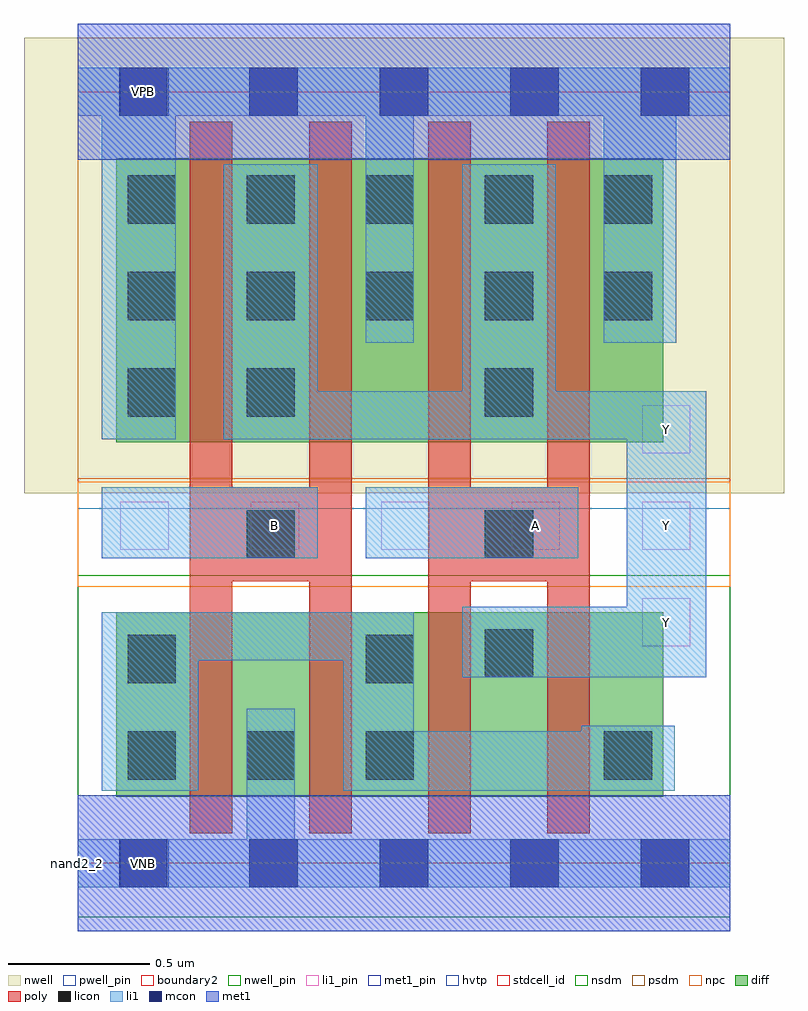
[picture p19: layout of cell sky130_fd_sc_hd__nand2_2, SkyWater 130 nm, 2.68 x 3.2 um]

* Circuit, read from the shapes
.subckt sky130_fd_sc_hd__nand2_2 A B VGND VNB VPB VPWR Y
XM1 VGND B n1 VNB sky130_fd_pr__nfet_01v8 w=0.65 l=0.15 m=2
XM2 Y A n1 VNB sky130_fd_pr__nfet_01v8 w=0.65 l=0.15 m=2
XM3 Y B VPWR VPB sky130_fd_pr__pfet_01v8_hvt w=1 l=0.15 m=2
XM4 Y A VPWR VPB sky130_fd_pr__pfet_01v8_hvt w=1 l=0.15 m=2
.ends

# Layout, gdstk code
import gdstk
lib = gdstk.Library(unit=1e-6, precision=1e-09)
def R(c, l, rs):  # rectangles x0, y0, x1, y1
    for r in rs: c.add(gdstk.rectangle(r[:2], r[2:], *l))
def P(c, l, *ps):  # polygons
    for p in ps: c.add(gdstk.Polygon(p, *l))
nwell_pin = (64, 16)
nwell = (64, 20)
diff = (65, 20)
poly = (66, 20)
licon = (66, 44)
li1_pin = (67, 16)
li1 = (67, 20)
mcon = (67, 44)
met1_pin = (68, 16)
met1 = (68, 20)
hvtp = (78, 44)
stdcell_id = (81, 4)
nsdm = (93, 44)
psdm = (94, 20)
npc = (95, 20)
pwell_pin = (122, 16)
boundary2 = (236, 0)

sky130_fd_sc_hd__nand2_2 = lib.new_cell('sky130_fd_sc_hd__nand2_2')
R(sky130_fd_sc_hd__nand2_2, nwell_pin, [(0.15,2.635,0.32,2.805), (0.15,2.635,0.32,2.805)])
R(sky130_fd_sc_hd__nand2_2, nwell, [(-0.19,1.305,2.49,2.91), (-0.19,1.305,2.49,2.91)])
R(sky130_fd_sc_hd__nand2_2, diff, [(0.135,0.235,2.065,0.885), (0.135,0.235,2.065,0.885), (0.135,1.485,2.065,2.485), (0.135,1.485,2.065,2.485)])
P(sky130_fd_sc_hd__nand2_2, poly, [(1.235,0.105),(1.235,2.615),(1.385,2.615),(1.385,1.325),(1.655,1.325),(1.655,2.615),(1.805,2.615),(1.805,0.105),(1.655,0.105),(1.655,0.995),(1.385,0.995),(1.385,0.105)],
  [(0.395,0.105),(0.395,2.615),(0.545,2.615),(0.545,1.325),(0.815,1.325),(0.815,2.615),(0.965,2.615),(0.965,0.105),(0.815,0.105),(0.815,0.995),(0.545,0.995),(0.545,0.105)],
  [(1.235,0.105),(1.235,2.615),(1.385,2.615),(1.385,1.325),(1.655,1.325),(1.655,2.615),(1.805,2.615),(1.805,0.105),(1.655,0.105),(1.655,0.995),(1.385,0.995),(1.385,0.105)],
  [(0.395,0.105),(0.395,2.615),(0.545,2.615),(0.545,1.325),(0.815,1.325),(0.815,2.615),(0.965,2.615),(0.965,0.105),(0.815,0.105),(0.815,0.995),(0.545,0.995),(0.545,0.105)])
R(sky130_fd_sc_hd__nand2_2, licon, [(0.175,0.295,0.345,0.465), (0.175,0.295,0.345,0.465), (0.595,0.295,0.765,0.465), (0.595,0.295,0.765,0.465), (1.015,0.295,1.185,0.465), (1.015,0.295,1.185,0.465), (1.855,0.295,2.025,0.465), (1.855,0.295,2.025,0.465), (0.175,0.635,0.345,0.805), (0.175,0.635,0.345,0.805), (1.015,0.635,1.185,0.805), (1.015,0.635,1.185,0.805), (1.435,0.655,1.605,0.825), (1.435,0.655,1.605,0.825), (0.595,1.075,0.765,1.245), (0.595,1.075,0.765,1.245), (1.435,1.075,1.605,1.245), (1.435,1.075,1.605,1.245), (0.175,1.575,0.345,1.745), (0.175,1.575,0.345,1.745), (0.595,1.575,0.765,1.745), (0.595,1.575,0.765,1.745), (1.435,1.575,1.605,1.745), (1.435,1.575,1.605,1.745), (0.175,1.915,0.345,2.085), (0.175,1.915,0.345,2.085), (0.595,1.915,0.765,2.085), (0.595,1.915,0.765,2.085), (1.015,1.915,1.185,2.085), (1.015,1.915,1.185,2.085), (1.435,1.915,1.605,2.085), (1.435,1.915,1.605,2.085), (1.855,1.915,2.025,2.085), (1.855,1.915,2.025,2.085), (0.175,2.255,0.345,2.425), (0.175,2.255,0.345,2.425), (0.595,2.255,0.765,2.425), (0.595,2.255,0.765,2.425), (1.015,2.255,1.185,2.425), (1.015,2.255,1.185,2.425), (1.435,2.255,1.605,2.425), (1.435,2.255,1.605,2.425), (1.855,2.255,2.025,2.425), (1.855,2.255,2.025,2.425)])
R(sky130_fd_sc_hd__nand2_2, li1_pin, [(1.99,0.765,2.16,0.935), (1.99,0.765,2.16,0.935), (0.15,1.105,0.32,1.275), (0.15,1.105,0.32,1.275), (0.61,1.105,0.78,1.275), (0.61,1.105,0.78,1.275), (1.07,1.105,1.24,1.275), (1.07,1.105,1.24,1.275), (1.53,1.105,1.7,1.275), (1.53,1.105,1.7,1.275), (1.99,1.105,2.16,1.275), (1.99,1.105,2.16,1.275), (1.99,1.445,2.16,1.615), (1.99,1.445,2.16,1.615)])
R(sky130_fd_sc_hd__nand2_2, li1, [(0.085,1.075,0.845,1.325), (0.085,1.075,0.845,1.325), (1.015,1.075,1.765,1.325), (1.015,1.075,1.765,1.325)])
P(sky130_fd_sc_hd__nand2_2, li1, [(0,-0.085),(0,0.085),(0.595,0.085),(0.595,0.545),(0.765,0.545),(0.765,0.085),(2.3,0.085),(2.3,-0.085)],
  [(0.085,1.495),(0.085,2.635),(0,2.635),(0,2.805),(2.3,2.805),(2.3,2.635),(2.11,2.635),(2.11,1.835),(1.855,1.835),(1.855,2.635),(1.185,2.635),(1.185,1.835),(1.015,1.835),(1.015,2.635),(0.345,2.635),(0.345,1.495)],
  [(0.085,0.255),(0.085,0.885),(1.185,0.885),(1.185,0.465),(1.775,0.465),(1.775,0.485),(2.105,0.485),(2.105,0.255),(0.935,0.255),(0.935,0.715),(0.425,0.715),(0.425,0.255)],
  [(1.355,0.655),(1.355,0.905),(1.935,0.905),(1.935,1.495),(0.515,1.495),(0.515,2.465),(0.845,2.465),(0.845,1.665),(1.355,1.665),(1.355,2.465),(1.685,2.465),(1.685,1.665),(2.215,1.665),(2.215,0.655)],
  [(0,-0.085),(0,0.085),(0.595,0.085),(0.595,0.545),(0.765,0.545),(0.765,0.085),(2.3,0.085),(2.3,-0.085)],
  [(0.085,1.495),(0.085,2.635),(0,2.635),(0,2.805),(2.3,2.805),(2.3,2.635),(2.11,2.635),(2.11,1.835),(1.855,1.835),(1.855,2.635),(1.185,2.635),(1.185,1.835),(1.015,1.835),(1.015,2.635),(0.345,2.635),(0.345,1.495)],
  [(0.085,0.255),(0.085,0.885),(1.185,0.885),(1.185,0.465),(1.775,0.465),(1.775,0.485),(2.105,0.485),(2.105,0.255),(0.935,0.255),(0.935,0.715),(0.425,0.715),(0.425,0.255)],
  [(1.355,0.655),(1.355,0.905),(1.935,0.905),(1.935,1.495),(0.515,1.495),(0.515,2.465),(0.845,2.465),(0.845,1.665),(1.355,1.665),(1.355,2.465),(1.685,2.465),(1.685,1.665),(2.215,1.665),(2.215,0.655)])
R(sky130_fd_sc_hd__nand2_2, mcon, [(0.145,-0.085,0.315,0.085), (0.145,-0.085,0.315,0.085), (0.605,-0.085,0.775,0.085), (0.605,-0.085,0.775,0.085), (1.065,-0.085,1.235,0.085), (1.065,-0.085,1.235,0.085), (1.525,-0.085,1.695,0.085), (1.525,-0.085,1.695,0.085), (1.985,-0.085,2.155,0.085), (1.985,-0.085,2.155,0.085), (0.145,2.635,0.315,2.805), (0.145,2.635,0.315,2.805), (0.605,2.635,0.775,2.805), (0.605,2.635,0.775,2.805), (1.065,2.635,1.235,2.805), (1.065,2.635,1.235,2.805), (1.525,2.635,1.695,2.805), (1.525,2.635,1.695,2.805), (1.985,2.635,2.155,2.805), (1.985,2.635,2.155,2.805)])
R(sky130_fd_sc_hd__nand2_2, met1_pin, [(0.15,-0.085,0.32,0.085), (0.15,-0.085,0.32,0.085), (0.15,2.635,0.32,2.805), (0.15,2.635,0.32,2.805)])
R(sky130_fd_sc_hd__nand2_2, hvtp, [(0,1.25,2.3,2.72), (0,1.25,2.3,2.72)])
R(sky130_fd_sc_hd__nand2_2, stdcell_id, [(0,0,2.3,2.72), (0,0,2.3,2.72)])
R(sky130_fd_sc_hd__nand2_2, nsdm, [(0,-0.19,2.3,1.015), (0,-0.19,2.3,1.015)])
R(sky130_fd_sc_hd__nand2_2, psdm, [(0,1.355,2.3,2.91), (0,1.355,2.3,2.91)])
R(sky130_fd_sc_hd__nand2_2, npc, [(0,0.975,2.3,1.345), (0,0.975,2.3,1.345)])
R(sky130_fd_sc_hd__nand2_2, pwell_pin, [(0.15,-0.085,0.32,0.085), (0.15,-0.085,0.32,0.085)])
R(sky130_fd_sc_hd__nand2_2, boundary2, [(0,0,2.3,2.72), (0,0,2.3,2.72)])
sky130_fd_sc_hd__nand2_2.add(gdstk.FlexPath([(0,2.72),(2.3,2.72)], 0.48, ends="flush", simple_path=True, layer=68, datatype=20))  # met1
sky130_fd_sc_hd__nand2_2.add(gdstk.FlexPath([(0,0),(2.3,0)], 0.48, ends="flush", simple_path=True, layer=68, datatype=20))  # met1
sky130_fd_sc_hd__nand2_2.add(gdstk.FlexPath([(0,2.72),(2.3,2.72)], 0.48, ends="flush", simple_path=True, layer=68, datatype=20))  # met1
sky130_fd_sc_hd__nand2_2.add(gdstk.FlexPath([(0,0),(2.3,0)], 0.48, ends="flush", simple_path=True, layer=68, datatype=20))  # met1
sky130_fd_sc_hd__nand2_2.add(gdstk.Label('Y', (2.075,0.85), layer=67, texttype=5))
sky130_fd_sc_hd__nand2_2.add(gdstk.Label('Y', (2.075,1.19), layer=67, texttype=5))
sky130_fd_sc_hd__nand2_2.add(gdstk.Label('Y', (2.075,1.53), layer=67, texttype=5))
sky130_fd_sc_hd__nand2_2.add(gdstk.Label('A', (1.615,1.19), layer=67, texttype=5))
sky130_fd_sc_hd__nand2_2.add(gdstk.Label('B', (0.695,1.19), layer=67, texttype=5))
sky130_fd_sc_hd__nand2_2.add(gdstk.Label('Y', (2.075,0.85), layer=67, texttype=5))
sky130_fd_sc_hd__nand2_2.add(gdstk.Label('Y', (2.075,1.19), layer=67, texttype=5))
sky130_fd_sc_hd__nand2_2.add(gdstk.Label('Y', (2.075,1.53), layer=67, texttype=5))
sky130_fd_sc_hd__nand2_2.add(gdstk.Label('A', (1.615,1.19), layer=67, texttype=5))
sky130_fd_sc_hd__nand2_2.add(gdstk.Label('B', (0.695,1.19), layer=67, texttype=5))
sky130_fd_sc_hd__nand2_2.add(gdstk.Label('VNB', (0.23,0), layer=64, texttype=59))
sky130_fd_sc_hd__nand2_2.add(gdstk.Label('VNB', (0.23,0), layer=64, texttype=59))
sky130_fd_sc_hd__nand2_2.add(gdstk.Label('VPB', (0.23,2.72), layer=64, texttype=5))
sky130_fd_sc_hd__nand2_2.add(gdstk.Label('VPB', (0.23,2.72), layer=64, texttype=5))
sky130_fd_sc_hd__nand2_2.add(gdstk.Label('VGND', (0.23,0), layer=68, texttype=5))
sky130_fd_sc_hd__nand2_2.add(gdstk.Label('VPWR', (0.23,2.72), layer=68, texttype=5))
sky130_fd_sc_hd__nand2_2.add(gdstk.Label('VGND', (0.23,0), layer=68, texttype=5))
sky130_fd_sc_hd__nand2_2.add(gdstk.Label('VPWR', (0.23,2.72), layer=68, texttype=5))
sky130_fd_sc_hd__nand2_2.add(gdstk.Label('nand2_2', (0,0), layer=83, texttype=44))
sky130_fd_sc_hd__nand2_2.add(gdstk.Label('nand2_2', (0,0), layer=83, texttype=44))

lib.write_gds('sky130_fd_sc_hd__nand2_2.gds')
